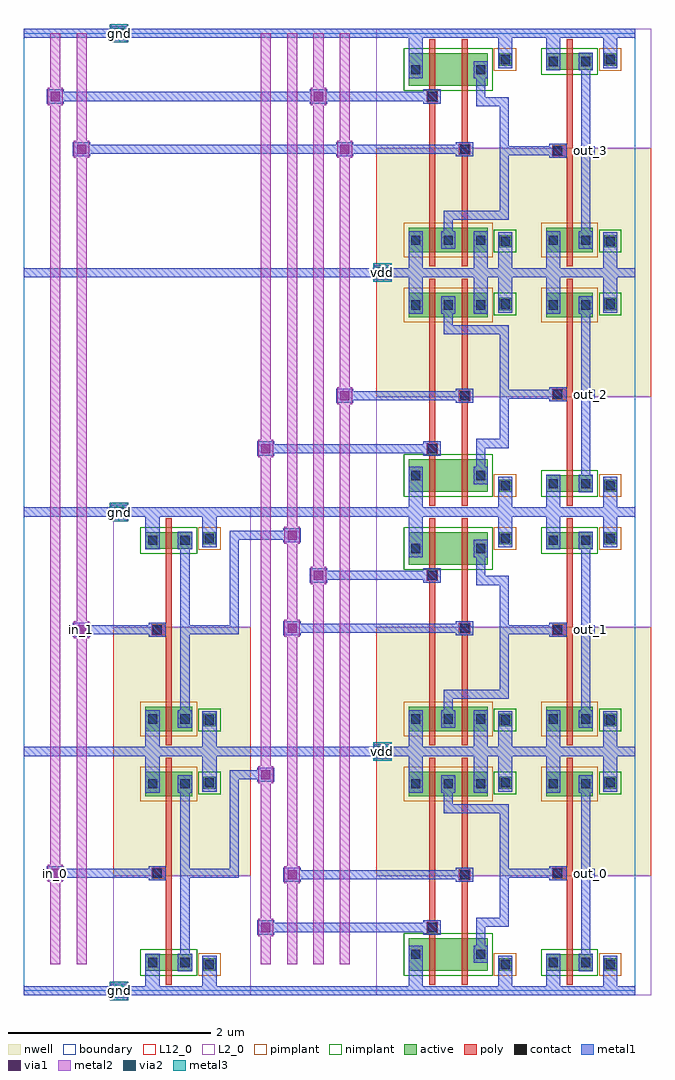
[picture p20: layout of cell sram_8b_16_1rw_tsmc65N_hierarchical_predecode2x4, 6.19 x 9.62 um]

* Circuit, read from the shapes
.subckt sram_8b_16_1rw_tsmc65N_hierarchical_predecode2x4 gnd in_0 in_1 out_0 out_1 out_2 out_3 vdd
M1 sram_8b_16_1rw_tsmc65N_and2_dec_2/A in_0 gnd gnd nfet w=0.16u l=0.06u
M2 sram_8b_16_1rw_tsmc65N_and2_dec_2/B in_1 gnd gnd nfet w=0.16u l=0.06u
M3 sram_8b_16_1rw_tsmc65N_and2_dec_2/sram_8b_16_1rw_tsmc65N_pnand2_0/sram_8b_16_1rw_tsmc65N_nmos_m1_w0_320_sm1_dactive_2/D sram_8b_16_1rw_tsmc65N_and2_dec_2/A gnd gnd nfet w=0.32u l=0.06u
M4 sram_8b_16_1rw_tsmc65N_and2_dec_3/sram_8b_16_1rw_tsmc65N_pnand2_0/sram_8b_16_1rw_tsmc65N_nmos_m1_w0_320_sm1_dactive_2/D in_0 gnd gnd nfet w=0.32u l=0.06u
M5 sram_8b_16_1rw_tsmc65N_and2_dec_4/sram_8b_16_1rw_tsmc65N_pnand2_0/sram_8b_16_1rw_tsmc65N_nmos_m1_w0_320_sm1_dactive_2/D sram_8b_16_1rw_tsmc65N_and2_dec_2/A gnd gnd nfet w=0.32u l=0.06u
M6 sram_8b_16_1rw_tsmc65N_and2_dec_5/sram_8b_16_1rw_tsmc65N_pnand2_0/sram_8b_16_1rw_tsmc65N_nmos_m1_w0_320_sm1_dactive_2/D in_0 gnd gnd nfet w=0.32u l=0.06u
M7 sram_8b_16_1rw_tsmc65N_and2_dec_2/sram_8b_16_1rw_tsmc65N_pinv_1/A sram_8b_16_1rw_tsmc65N_and2_dec_2/B sram_8b_16_1rw_tsmc65N_and2_dec_2/sram_8b_16_1rw_tsmc65N_pnand2_0/sram_8b_16_1rw_tsmc65N_nmos_m1_w0_320_sm1_dactive_2/D gnd nfet w=0.32u l=0.06u
M8 sram_8b_16_1rw_tsmc65N_and2_dec_3/sram_8b_16_1rw_tsmc65N_pinv_1/A sram_8b_16_1rw_tsmc65N_and2_dec_2/B sram_8b_16_1rw_tsmc65N_and2_dec_3/sram_8b_16_1rw_tsmc65N_pnand2_0/sram_8b_16_1rw_tsmc65N_nmos_m1_w0_320_sm1_dactive_2/D gnd nfet w=0.32u l=0.06u
M9 sram_8b_16_1rw_tsmc65N_and2_dec_4/sram_8b_16_1rw_tsmc65N_pinv_1/A in_1 sram_8b_16_1rw_tsmc65N_and2_dec_4/sram_8b_16_1rw_tsmc65N_pnand2_0/sram_8b_16_1rw_tsmc65N_nmos_m1_w0_320_sm1_dactive_2/D gnd nfet w=0.32u l=0.06u
M10 sram_8b_16_1rw_tsmc65N_and2_dec_5/sram_8b_16_1rw_tsmc65N_pinv_1/A in_1 sram_8b_16_1rw_tsmc65N_and2_dec_5/sram_8b_16_1rw_tsmc65N_pnand2_0/sram_8b_16_1rw_tsmc65N_nmos_m1_w0_320_sm1_dactive_2/D gnd nfet w=0.32u l=0.06u
M11 out_0 sram_8b_16_1rw_tsmc65N_and2_dec_2/sram_8b_16_1rw_tsmc65N_pinv_1/A gnd gnd nfet w=0.16u l=0.06u
M12 out_1 sram_8b_16_1rw_tsmc65N_and2_dec_3/sram_8b_16_1rw_tsmc65N_pinv_1/A gnd gnd nfet w=0.16u l=0.06u
M13 out_2 sram_8b_16_1rw_tsmc65N_and2_dec_4/sram_8b_16_1rw_tsmc65N_pinv_1/A gnd gnd nfet w=0.16u l=0.06u
M14 out_3 sram_8b_16_1rw_tsmc65N_and2_dec_5/sram_8b_16_1rw_tsmc65N_pinv_1/A gnd gnd nfet w=0.16u l=0.06u
M15 sram_8b_16_1rw_tsmc65N_and2_dec_2/A in_0 vdd vdd pfet w=0.24u l=0.06u
M16 sram_8b_16_1rw_tsmc65N_and2_dec_2/B in_1 vdd vdd pfet w=0.24u l=0.06u
M17 sram_8b_16_1rw_tsmc65N_and2_dec_2/sram_8b_16_1rw_tsmc65N_pinv_1/A sram_8b_16_1rw_tsmc65N_and2_dec_2/A vdd vdd pfet w=0.24u l=0.06u
M18 sram_8b_16_1rw_tsmc65N_and2_dec_3/sram_8b_16_1rw_tsmc65N_pinv_1/A in_0 vdd vdd pfet w=0.24u l=0.06u
M19 sram_8b_16_1rw_tsmc65N_and2_dec_4/sram_8b_16_1rw_tsmc65N_pinv_1/A sram_8b_16_1rw_tsmc65N_and2_dec_2/A vdd vdd pfet w=0.24u l=0.06u
M20 sram_8b_16_1rw_tsmc65N_and2_dec_5/sram_8b_16_1rw_tsmc65N_pinv_1/A in_0 vdd vdd pfet w=0.24u l=0.06u
M21 vdd sram_8b_16_1rw_tsmc65N_and2_dec_2/B sram_8b_16_1rw_tsmc65N_and2_dec_2/sram_8b_16_1rw_tsmc65N_pinv_1/A vdd pfet w=0.24u l=0.06u
M22 vdd sram_8b_16_1rw_tsmc65N_and2_dec_2/B sram_8b_16_1rw_tsmc65N_and2_dec_3/sram_8b_16_1rw_tsmc65N_pinv_1/A vdd pfet w=0.24u l=0.06u
M23 vdd in_1 sram_8b_16_1rw_tsmc65N_and2_dec_4/sram_8b_16_1rw_tsmc65N_pinv_1/A vdd pfet w=0.24u l=0.06u
M24 vdd in_1 sram_8b_16_1rw_tsmc65N_and2_dec_5/sram_8b_16_1rw_tsmc65N_pinv_1/A vdd pfet w=0.24u l=0.06u
M25 out_0 sram_8b_16_1rw_tsmc65N_and2_dec_2/sram_8b_16_1rw_tsmc65N_pinv_1/A vdd vdd pfet w=0.24u l=0.06u
M26 out_1 sram_8b_16_1rw_tsmc65N_and2_dec_3/sram_8b_16_1rw_tsmc65N_pinv_1/A vdd vdd pfet w=0.24u l=0.06u
M27 out_2 sram_8b_16_1rw_tsmc65N_and2_dec_4/sram_8b_16_1rw_tsmc65N_pinv_1/A vdd vdd pfet w=0.24u l=0.06u
M28 out_3 sram_8b_16_1rw_tsmc65N_and2_dec_5/sram_8b_16_1rw_tsmc65N_pinv_1/A vdd vdd pfet w=0.24u l=0.06u
.ends

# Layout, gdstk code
import gdstk
lib = gdstk.Library(unit=1e-6, precision=1e-09)
def R(c, l, rs):  # rectangles x0, y0, x1, y1
    for r in rs: c.add(gdstk.rectangle(r[:2], r[2:], *l))
def A(c, l, x, y, w, h, nx, ny, dx, dy):  # array of equal rectangles
    R(c, l, [(x+i*dx, y+j*dy, x+i*dx+w, y+j*dy+h) for i in range(nx) for j in range(ny)])
L2_0 = (2, 0)
nwell = (3, 0)
active = (6, 0)
L12_0 = (12, 0)
poly = (17, 0)
pimplant = (25, 0)
nimplant = (26, 0)
contact = (30, 0)
metal1 = (31, 0)
metal2 = (32, 0)
metal3 = (33, 0)
via1 = (51, 0)
via2 = (52, 0)
boundary = (108, 0)

sram_8b_16_1rw_tsmc65n_c = lib.new_cell('sram_8b_16_1rw_tsmc65N_contact_11')
R(sram_8b_16_1rw_tsmc65n_c, nwell, [(-0.165,-0.15,0.305,0.32)])
R(sram_8b_16_1rw_tsmc65n_c, active, [(0.01,0.025,0.13,0.145)])
R(sram_8b_16_1rw_tsmc65n_c, pimplant, [(-0.04,-0.025,0.18,0.195)])
R(sram_8b_16_1rw_tsmc65n_c, contact, [(0.025,0.04,0.115,0.13)])
R(sram_8b_16_1rw_tsmc65n_c, metal1, [(0,0,0.14,0.17)])
R(sram_8b_16_1rw_tsmc65n_c, boundary, [(-0.165,-0.15,0.305,0.32)])

sram_8b_16_1rw_tsmc65n_p = lib.new_cell('sram_8b_16_1rw_tsmc65N_pmos_m1_w0_240_sm1_dm1_da_p')
R(sram_8b_16_1rw_tsmc65n_p, nwell, [(-0.16,-0.16,0.62,0.4)])
R(sram_8b_16_1rw_tsmc65n_p, active, [(0,0,0.46,0.24)])
R(sram_8b_16_1rw_tsmc65n_p, L12_0, [(-0.16,-0.16,0.62,0.4)])
R(sram_8b_16_1rw_tsmc65n_p, poly, [(0.2,-0.14,0.26,0.38), (0.2,-0.14,0.26,0.38)])
R(sram_8b_16_1rw_tsmc65n_p, pimplant, [(-0.05,-0.05,0.51,0.29)])
R(sram_8b_16_1rw_tsmc65n_p, metal1, [(0,0.035,0.14,0.205), (0.32,0.035,0.46,0.205)])
R(sram_8b_16_1rw_tsmc65n_p, boundary, [(-0.16,-0.16,0.62,0.4)])
sram_8b_16_1rw_tsmc65n_p.add(gdstk.Reference(sram_8b_16_1rw_tsmc65n_c, (0,0.035)))
sram_8b_16_1rw_tsmc65n_p.add(gdstk.Reference(sram_8b_16_1rw_tsmc65n_c, (0.32,0.035)))
sram_8b_16_1rw_tsmc65n_p.add(gdstk.Label('G', (0.23,0.12), layer=17, texttype=0))
sram_8b_16_1rw_tsmc65n_p.add(gdstk.Label('S', (0.07,0.12), layer=31, texttype=0))
sram_8b_16_1rw_tsmc65n_p.add(gdstk.Label('D', (0.39,0.12), layer=31, texttype=0))

c_sram_8b_16_1rw_tsmc65n_c = lib.new_cell('sram_8b_16_1rw_tsmc65N_contact_10')
R(c_sram_8b_16_1rw_tsmc65n_c, L2_0, [(-0.165,-0.15,0.305,0.32)])
R(c_sram_8b_16_1rw_tsmc65n_c, active, [(0.01,0.025,0.13,0.145)])
R(c_sram_8b_16_1rw_tsmc65n_c, nimplant, [(-0.04,-0.025,0.18,0.195)])
R(c_sram_8b_16_1rw_tsmc65n_c, contact, [(0.025,0.04,0.115,0.13)])
R(c_sram_8b_16_1rw_tsmc65n_c, metal1, [(0,0,0.14,0.17)])
R(c_sram_8b_16_1rw_tsmc65n_c, boundary, [(-0.165,-0.15,0.305,0.32)])

sram_8b_16_1rw_tsmc65n_n = lib.new_cell('sram_8b_16_1rw_tsmc65N_nmos_m1_w0_160_sm1_dm1_da_p')
R(sram_8b_16_1rw_tsmc65n_n, L2_0, [(-0.16,-0.16,0.62,0.32)])
R(sram_8b_16_1rw_tsmc65n_n, active, [(0,0,0.46,0.16)])
R(sram_8b_16_1rw_tsmc65n_n, L12_0, [(-0.16,-0.16,0.62,0.32)])
R(sram_8b_16_1rw_tsmc65n_n, poly, [(0.2,-0.14,0.26,0.3), (0.2,-0.14,0.26,0.3)])
R(sram_8b_16_1rw_tsmc65n_n, nimplant, [(-0.05,-0.05,0.51,0.21)])
R(sram_8b_16_1rw_tsmc65n_n, metal1, [(0,-0.005,0.14,0.165), (0.32,-0.005,0.46,0.165)])
R(sram_8b_16_1rw_tsmc65n_n, boundary, [(-0.16,-0.16,0.62,0.32)])
sram_8b_16_1rw_tsmc65n_n.add(gdstk.Reference(c_sram_8b_16_1rw_tsmc65n_c, (0,-0.005)))
sram_8b_16_1rw_tsmc65n_n.add(gdstk.Reference(c_sram_8b_16_1rw_tsmc65n_c, (0.32,-0.005)))
sram_8b_16_1rw_tsmc65n_n.add(gdstk.Label('G', (0.23,0.08), layer=17, texttype=0))
sram_8b_16_1rw_tsmc65n_n.add(gdstk.Label('S', (0.07,0.08), layer=31, texttype=0))
sram_8b_16_1rw_tsmc65n_n.add(gdstk.Label('D', (0.39,0.08), layer=31, texttype=0))

c_sram_8b_16_1rw_tsmc65n_c_ = lib.new_cell('sram_8b_16_1rw_tsmc65N_contact_12')
R(c_sram_8b_16_1rw_tsmc65n_c_, nwell, [(-0.165,-0.15,0.305,0.32)])
R(c_sram_8b_16_1rw_tsmc65n_c_, active, [(0.01,0.025,0.13,0.145)])
R(c_sram_8b_16_1rw_tsmc65n_c_, nimplant, [(-0.04,-0.025,0.18,0.195)])
R(c_sram_8b_16_1rw_tsmc65n_c_, contact, [(0.025,0.04,0.115,0.13)])
R(c_sram_8b_16_1rw_tsmc65n_c_, metal1, [(0,0,0.14,0.17)])
R(c_sram_8b_16_1rw_tsmc65n_c_, boundary, [(-0.165,-0.15,0.305,0.32)])

c_sram_8b_16_1rw_tsmc65n_c__ = lib.new_cell('sram_8b_16_1rw_tsmc65N_contact_13')
R(c_sram_8b_16_1rw_tsmc65n_c__, L2_0, [(-0.165,-0.15,0.305,0.32)])
R(c_sram_8b_16_1rw_tsmc65n_c__, active, [(0.01,0.025,0.13,0.145)])
R(c_sram_8b_16_1rw_tsmc65n_c__, pimplant, [(-0.04,-0.025,0.18,0.195)])
R(c_sram_8b_16_1rw_tsmc65n_c__, contact, [(0.025,0.04,0.115,0.13)])
R(c_sram_8b_16_1rw_tsmc65n_c__, metal1, [(0,0,0.14,0.17)])
R(c_sram_8b_16_1rw_tsmc65n_c__, boundary, [(-0.165,-0.15,0.305,0.32)])

c_sram_8b_16_1rw_tsmc65n_c___ = lib.new_cell('sram_8b_16_1rw_tsmc65N_contact_14')
R(c_sram_8b_16_1rw_tsmc65n_c___, poly, [(0.03,0.015,0.14,0.125)])
R(c_sram_8b_16_1rw_tsmc65n_c___, contact, [(0.04,0.025,0.13,0.115)])
R(c_sram_8b_16_1rw_tsmc65n_c___, metal1, [(0,0,0.17,0.14)])
R(c_sram_8b_16_1rw_tsmc65n_c___, boundary, [(0,0,0.17,0.14)])

c_sram_8b_16_1rw_tsmc65n_p = lib.new_cell('sram_8b_16_1rw_tsmc65N_pinv')
R(c_sram_8b_16_1rw_tsmc65n_p, L2_0, [(-0.16,-0.045,1.195,1.135)])
R(c_sram_8b_16_1rw_tsmc65n_p, nwell, [(-0.16,1.135,1.195,2.48)])
R(c_sram_8b_16_1rw_tsmc65n_p, L12_0, [(-0.16,-0.045,1.195,1.135), (-0.16,1.135,1.195,2.48)])
R(c_sram_8b_16_1rw_tsmc65n_p, poly, [(0.36,0.5,0.42,1.78), (0.275,1.105,0.36,1.215)])
R(c_sram_8b_16_1rw_tsmc65n_p, metal1, [(0,-0.045,1.035,0.045), (0.16,-0.045,0.3,0.195), (0.72,0,0.86,0.26), (0.505,0.195,0.595,2.125), (0.19,1.09,0.36,1.23), (0.55,1.115,0.64,1.205), (0.16,1.955,0.3,2.405), (0.72,2.05,0.86,2.36), (0,2.315,1.035,2.405)])
R(c_sram_8b_16_1rw_tsmc65n_p, boundary, [(0,0,1.035,2.36), (0,0,1.035,2.36)])
c_sram_8b_16_1rw_tsmc65n_p.add(gdstk.Reference(sram_8b_16_1rw_tsmc65n_p, (0.16,1.92)))
c_sram_8b_16_1rw_tsmc65n_p.add(gdstk.Reference(sram_8b_16_1rw_tsmc65n_n, (0.16,0.2)))
c_sram_8b_16_1rw_tsmc65n_p.add(gdstk.Reference(c_sram_8b_16_1rw_tsmc65n_c_, (0.72,1.965)))
c_sram_8b_16_1rw_tsmc65n_p.add(gdstk.Reference(c_sram_8b_16_1rw_tsmc65n_c__, (0.72,0.175)))
c_sram_8b_16_1rw_tsmc65n_p.add(gdstk.Reference(c_sram_8b_16_1rw_tsmc65n_c___, (0.19,1.09)))
c_sram_8b_16_1rw_tsmc65n_p.add(gdstk.Label('A', (0.275,1.16), layer=31, texttype=0))
c_sram_8b_16_1rw_tsmc65n_p.add(gdstk.Label('Z', (0.595,1.16), layer=31, texttype=0))
c_sram_8b_16_1rw_tsmc65n_p.add(gdstk.Label('gnd', (0.518,0), layer=31, texttype=0))
c_sram_8b_16_1rw_tsmc65n_p.add(gdstk.Label('vdd', (0.518,2.36), layer=31, texttype=0))

c_sram_8b_16_1rw_tsmc65n_p_ = lib.new_cell('sram_8b_16_1rw_tsmc65N_pmos_m1_w0_242_sm1_dm1')
R(c_sram_8b_16_1rw_tsmc65n_p_, nwell, [(-0.16,-0.16,0.62,0.4)])
R(c_sram_8b_16_1rw_tsmc65n_p_, active, [(0,0,0.46,0.24)])
R(c_sram_8b_16_1rw_tsmc65n_p_, L12_0, [(-0.16,-0.16,0.62,0.4)])
R(c_sram_8b_16_1rw_tsmc65n_p_, poly, [(0.2,-0.14,0.26,0.38), (0.2,-0.14,0.26,0.38)])
R(c_sram_8b_16_1rw_tsmc65n_p_, pimplant, [(-0.05,-0.05,0.51,0.29)])
R(c_sram_8b_16_1rw_tsmc65n_p_, metal1, [(0,0.035,0.14,0.205), (0.32,0.035,0.46,0.205)])
R(c_sram_8b_16_1rw_tsmc65n_p_, boundary, [(-0.16,-0.16,0.62,0.4)])
c_sram_8b_16_1rw_tsmc65n_p_.add(gdstk.Reference(sram_8b_16_1rw_tsmc65n_c, (0,0.035)))
c_sram_8b_16_1rw_tsmc65n_p_.add(gdstk.Reference(sram_8b_16_1rw_tsmc65n_c, (0.32,0.035)))
c_sram_8b_16_1rw_tsmc65n_p_.add(gdstk.Label('G', (0.23,0.12), layer=17, texttype=0))
c_sram_8b_16_1rw_tsmc65n_p_.add(gdstk.Label('S', (0.07,0.12), layer=31, texttype=0))
c_sram_8b_16_1rw_tsmc65n_p_.add(gdstk.Label('D', (0.39,0.12), layer=31, texttype=0))

c_sram_8b_16_1rw_tsmc65n_n = lib.new_cell('sram_8b_16_1rw_tsmc65N_nmos_m1_w0_320_sm1_dactive')
R(c_sram_8b_16_1rw_tsmc65n_n, L2_0, [(-0.16,-0.16,0.62,0.48)])
R(c_sram_8b_16_1rw_tsmc65n_n, active, [(0,0,0.46,0.32), (0.35,0.12,0.43,0.2)])
R(c_sram_8b_16_1rw_tsmc65n_n, L12_0, [(-0.16,-0.16,0.62,0.48)])
R(c_sram_8b_16_1rw_tsmc65n_n, poly, [(0.2,-0.14,0.26,0.46), (0.2,-0.14,0.26,0.46)])
R(c_sram_8b_16_1rw_tsmc65n_n, nimplant, [(-0.05,-0.05,0.51,0.37)])
R(c_sram_8b_16_1rw_tsmc65n_n, metal1, [(0,0.075,0.14,0.245)])
R(c_sram_8b_16_1rw_tsmc65n_n, boundary, [(-0.16,-0.16,0.62,0.48)])
c_sram_8b_16_1rw_tsmc65n_n.add(gdstk.Reference(c_sram_8b_16_1rw_tsmc65n_c, (0,0.075)))
c_sram_8b_16_1rw_tsmc65n_n.add(gdstk.Label('G', (0.23,0.16), layer=17, texttype=0))
c_sram_8b_16_1rw_tsmc65n_n.add(gdstk.Label('S', (0.07,0.16), layer=31, texttype=0))
c_sram_8b_16_1rw_tsmc65n_n.add(gdstk.Label('D', (0.39,0.16), layer=6, texttype=0))

c_sram_8b_16_1rw_tsmc65n_n_ = lib.new_cell('sram_8b_16_1rw_tsmc65N_nmos_m1_w0_320_sactive_dm1')
R(c_sram_8b_16_1rw_tsmc65n_n_, L2_0, [(-0.16,-0.16,0.62,0.48)])
R(c_sram_8b_16_1rw_tsmc65n_n_, active, [(0,0,0.46,0.32), (0.03,0.12,0.11,0.2)])
R(c_sram_8b_16_1rw_tsmc65n_n_, L12_0, [(-0.16,-0.16,0.62,0.48)])
R(c_sram_8b_16_1rw_tsmc65n_n_, poly, [(0.2,-0.14,0.26,0.46), (0.2,-0.14,0.26,0.46)])
R(c_sram_8b_16_1rw_tsmc65n_n_, nimplant, [(-0.05,-0.05,0.51,0.37)])
R(c_sram_8b_16_1rw_tsmc65n_n_, metal1, [(0.32,0.075,0.46,0.245)])
R(c_sram_8b_16_1rw_tsmc65n_n_, boundary, [(-0.16,-0.16,0.62,0.48)])
c_sram_8b_16_1rw_tsmc65n_n_.add(gdstk.Reference(c_sram_8b_16_1rw_tsmc65n_c, (0.32,0.075)))
c_sram_8b_16_1rw_tsmc65n_n_.add(gdstk.Label('G', (0.23,0.16), layer=17, texttype=0))
c_sram_8b_16_1rw_tsmc65n_n_.add(gdstk.Label('S', (0.07,0.16), layer=6, texttype=0))
c_sram_8b_16_1rw_tsmc65n_n_.add(gdstk.Label('D', (0.39,0.16), layer=31, texttype=0))

c_sram_8b_16_1rw_tsmc65n_p__ = lib.new_cell('sram_8b_16_1rw_tsmc65N_pnand2')
R(c_sram_8b_16_1rw_tsmc65n_p__, L2_0, [(-0.16,-0.045,1.515,1.135)])
R(c_sram_8b_16_1rw_tsmc65n_p__, nwell, [(-0.16,1.135,1.515,2.48)])
R(c_sram_8b_16_1rw_tsmc65n_p__, L12_0, [(-0.16,-0.045,1.515,1.135), (-0.16,1.135,1.515,2.48)])
R(c_sram_8b_16_1rw_tsmc65n_p__, poly, [(0.36,0.57,0.39,0.68), (0.36,0.66,0.42,1.78), (0.68,0.66,0.74,1.78), (0.68,1.09,0.71,1.2)])
R(c_sram_8b_16_1rw_tsmc65n_p__, metal1, [(0,-0.045,1.355,0.045), (0.16,-0.045,0.3,0.275), (1.04,0,1.18,0.26), (0.825,0.445,0.915,0.675), (0.305,0.555,0.475,0.695), (0.825,0.63,0.915,0.72), (0.87,0.63,1.1,0.72), (1.055,0.63,1.145,0.72), (1.055,0.675,1.145,1.795), (0.625,1.075,0.795,1.215), (0.505,1.75,0.595,1.84), (0.55,1.75,1.1,1.84), (1.055,1.75,1.145,1.84), (0.505,1.795,0.595,1.955), (0.16,1.955,0.3,2.405), (0.8,1.955,0.94,2.405), (1.04,2.05,1.18,2.36), (0,2.315,1.355,2.405)])
R(c_sram_8b_16_1rw_tsmc65n_p__, boundary, [(0,0,1.355,2.36), (0,0,1.355,2.36)])
c_sram_8b_16_1rw_tsmc65n_p__.add(gdstk.Reference(c_sram_8b_16_1rw_tsmc65n_p_, (0.16,1.92)))
c_sram_8b_16_1rw_tsmc65n_p__.add(gdstk.Reference(c_sram_8b_16_1rw_tsmc65n_p_, (0.48,1.92)))
c_sram_8b_16_1rw_tsmc65n_p__.add(gdstk.Reference(c_sram_8b_16_1rw_tsmc65n_n, (0.16,0.2)))
c_sram_8b_16_1rw_tsmc65n_p__.add(gdstk.Reference(c_sram_8b_16_1rw_tsmc65n_n_, (0.48,0.2)))
c_sram_8b_16_1rw_tsmc65n_p__.add(gdstk.Reference(c_sram_8b_16_1rw_tsmc65n_c_, (1.04,1.965)))
c_sram_8b_16_1rw_tsmc65n_p__.add(gdstk.Reference(c_sram_8b_16_1rw_tsmc65n_c__, (1.04,0.175)))
c_sram_8b_16_1rw_tsmc65n_p__.add(gdstk.Reference(c_sram_8b_16_1rw_tsmc65n_c___, (0.305,0.555)))
c_sram_8b_16_1rw_tsmc65n_p__.add(gdstk.Reference(c_sram_8b_16_1rw_tsmc65n_c___, (0.625,1.075)))
c_sram_8b_16_1rw_tsmc65n_p__.add(gdstk.Label('Z', (1.1,1.795), layer=31, texttype=0))
c_sram_8b_16_1rw_tsmc65n_p__.add(gdstk.Label('gnd', (0.678,0), layer=31, texttype=0))
c_sram_8b_16_1rw_tsmc65n_p__.add(gdstk.Label('vdd', (0.678,2.36), layer=31, texttype=0))
c_sram_8b_16_1rw_tsmc65n_p__.add(gdstk.Label('A', (0.39,0.625), layer=31, texttype=0))
c_sram_8b_16_1rw_tsmc65n_p__.add(gdstk.Label('B', (0.71,1.145), layer=31, texttype=0))

sram_8b_16_1rw_tsmc65n_a = lib.new_cell('sram_8b_16_1rw_tsmc65N_and2_dec')
R(sram_8b_16_1rw_tsmc65n_a, metal1, [(0,-0.045,2.39,0.045), (0.305,0.555,0.475,0.695), (0.625,1.075,0.795,1.215), (1.055,1.115,1.145,1.205), (1.1,1.115,1.63,1.205), (1.905,1.115,1.995,1.205), (1.055,1.16,1.145,1.795), (0,2.315,2.39,2.405)])
R(sram_8b_16_1rw_tsmc65n_a, boundary, [(0,0,2.39,2.36)])
sram_8b_16_1rw_tsmc65n_a.add(gdstk.Reference(c_sram_8b_16_1rw_tsmc65n_p__, (0,0)))
sram_8b_16_1rw_tsmc65n_a.add(gdstk.Reference(c_sram_8b_16_1rw_tsmc65n_p, (1.355,0)))
sram_8b_16_1rw_tsmc65n_a.add(gdstk.Label('Z', (1.95,1.16), layer=31, texttype=0))
sram_8b_16_1rw_tsmc65n_a.add(gdstk.Label('A', (0.39,0.625), layer=31, texttype=0))
sram_8b_16_1rw_tsmc65n_a.add(gdstk.Label('B', (0.71,1.145), layer=31, texttype=0))
sram_8b_16_1rw_tsmc65n_a.add(gdstk.Label('gnd', (1.195,0), layer=31, texttype=0))
sram_8b_16_1rw_tsmc65n_a.add(gdstk.Label('vdd', (1.195,2.36), layer=31, texttype=0))

c_sram_8b_16_1rw_tsmc65n_c____ = lib.new_cell('sram_8b_16_1rw_tsmc65N_contact_15')
R(c_sram_8b_16_1rw_tsmc65n_c____, metal1, [(0,0.015,0.17,0.155)])
R(c_sram_8b_16_1rw_tsmc65n_c____, metal2, [(0.01,0,0.16,0.17)])
R(c_sram_8b_16_1rw_tsmc65n_c____, via1, [(0.04,0.04,0.13,0.13)])
R(c_sram_8b_16_1rw_tsmc65n_c____, boundary, [(0,0,0.17,0.17)])

c_sram_8b_16_1rw_tsmc65n_c_____ = lib.new_cell('sram_8b_16_1rw_tsmc65N_contact_17')
R(c_sram_8b_16_1rw_tsmc65n_c_____, metal1, [(0,0.015,0.17,0.155)])
R(c_sram_8b_16_1rw_tsmc65n_c_____, metal2, [(0.01,0,0.16,0.17)])
R(c_sram_8b_16_1rw_tsmc65n_c_____, via1, [(0.04,0.04,0.13,0.13)])
R(c_sram_8b_16_1rw_tsmc65n_c_____, boundary, [(0,0,0.17,0.17)])

c_sram_8b_16_1rw_tsmc65n_c______ = lib.new_cell('sram_8b_16_1rw_tsmc65N_contact_18')
R(c_sram_8b_16_1rw_tsmc65n_c______, metal2, [(0.01,0,0.17,0.18)])
R(c_sram_8b_16_1rw_tsmc65n_c______, metal3, [(0,0.01,0.18,0.17)])
R(c_sram_8b_16_1rw_tsmc65n_c______, via2, [(0.04,0.04,0.14,0.14)])
R(c_sram_8b_16_1rw_tsmc65n_c______, boundary, [(0,0,0.18,0.18)])

sram_8b_16_1rw_tsmc65n_h = lib.new_cell('sram_8b_16_1rw_tsmc65N_hierarchical_predecode2x4')
R(sram_8b_16_1rw_tsmc65n_h, metal1, [(0,-0.045,6.025,0.045), (2.385,0.58,4.025,0.67), (3.98,0.58,4.07,0.67), (2.645,1.1,4.345,1.19), (4.3,1.1,4.39,1.19), (0.31,1.115,1.315,1.205), (1.27,1.115,1.36,1.205), (1.635,1.115,1.725,1.205), (1.68,1.115,2.075,1.205), (2.03,1.115,2.12,1.205), (5.54,1.115,5.63,1.205), (2.03,1.16,2.12,2.13), (2.03,2.085,2.12,2.175), (2.075,2.085,2.385,2.175), (0,2.315,6.025,2.405), (0,2.315,6.025,2.405), (0.57,3.515,1.315,3.605), (1.27,3.515,1.36,3.605), (1.635,3.515,1.725,3.605), (1.68,3.515,2.075,3.605), (2.03,3.515,2.12,3.605), (5.54,3.515,5.63,3.605), (2.645,3.53,4.345,3.62), (4.3,3.53,4.39,3.62), (2.03,3.56,2.12,4.49), (2.905,4.05,4.025,4.14), (3.98,4.05,4.07,4.14), (2.03,4.445,2.12,4.535), (2.075,4.445,2.645,4.535), (0,4.675,6.025,4.765), (0,4.675,6.025,4.765), (2.385,5.3,4.025,5.39), (3.98,5.3,4.07,5.39), (3.165,5.82,4.345,5.91), (4.3,5.82,4.39,5.91), (5.54,5.835,5.63,5.925), (0,7.035,6.025,7.125), (0,7.035,6.025,7.125), (5.54,8.235,5.63,8.325), (0.57,8.25,3.165,8.34), (3.165,8.25,4.345,8.34), (4.3,8.25,4.39,8.34), (0.31,8.77,2.905,8.86), (2.905,8.77,4.025,8.86), (3.98,8.77,4.07,8.86), (0,9.395,6.025,9.485)])
A(sram_8b_16_1rw_tsmc65n_h, metal2, 2.335, 0.26, 0.1, 9.18, 4, 1, 0.26, 0)
R(sram_8b_16_1rw_tsmc65n_h, metal2, [(0.86,-0.05,1.02,0.05), (0.26,0.26,0.36,9.44), (0.52,0.26,0.62,9.44), (0.235,1.075,0.385,1.245), (3.455,2.31,3.615,2.41), (3.455,2.31,3.615,2.41), (0.495,3.475,0.645,3.645), (0.86,4.67,1.02,4.77), (0.86,4.67,1.02,4.77), (3.455,7.03,3.615,7.13), (3.455,7.03,3.615,7.13), (0.86,9.39,1.02,9.49)])
A(sram_8b_16_1rw_tsmc65n_h, metal3, 0.85, -0.09, 0.18, 0.18, 1, 3, 0, 4.72)
R(sram_8b_16_1rw_tsmc65n_h, metal3, [(3.445,2.27,3.625,2.45), (3.445,6.99,3.625,7.17)])
R(sram_8b_16_1rw_tsmc65n_h, boundary, [(0,0,6.025,9.44)])
sram_8b_16_1rw_tsmc65n_h.add(gdstk.Reference(c_sram_8b_16_1rw_tsmc65n_p, (1.04,0)))
sram_8b_16_1rw_tsmc65n_h.add(gdstk.Reference(c_sram_8b_16_1rw_tsmc65n_p, (1.04,4.72), x_reflection=True))
sram_8b_16_1rw_tsmc65n_h.add(gdstk.Reference(sram_8b_16_1rw_tsmc65n_a, (3.635,0)))
sram_8b_16_1rw_tsmc65n_h.add(gdstk.Reference(sram_8b_16_1rw_tsmc65n_a, (3.635,4.72), x_reflection=True))
sram_8b_16_1rw_tsmc65n_h.add(gdstk.Reference(sram_8b_16_1rw_tsmc65n_a, (3.635,4.72)))
sram_8b_16_1rw_tsmc65n_h.add(gdstk.Reference(sram_8b_16_1rw_tsmc65n_a, (3.635,9.44), x_reflection=True))
sram_8b_16_1rw_tsmc65n_h.add(gdstk.Reference(c_sram_8b_16_1rw_tsmc65n_c____, (0.225,1.075)))
sram_8b_16_1rw_tsmc65n_h.add(gdstk.Reference(c_sram_8b_16_1rw_tsmc65n_c____, (0.485,3.475)))
sram_8b_16_1rw_tsmc65n_h.add(gdstk.Reference(c_sram_8b_16_1rw_tsmc65n_c____, (2.3,0.54)))
sram_8b_16_1rw_tsmc65n_h.add(gdstk.Reference(c_sram_8b_16_1rw_tsmc65n_c____, (2.56,1.06)))
sram_8b_16_1rw_tsmc65n_h.add(gdstk.Reference(c_sram_8b_16_1rw_tsmc65n_c____, (2.82,4.01)))
sram_8b_16_1rw_tsmc65n_h.add(gdstk.Reference(c_sram_8b_16_1rw_tsmc65n_c____, (2.56,3.49)))
sram_8b_16_1rw_tsmc65n_h.add(gdstk.Reference(c_sram_8b_16_1rw_tsmc65n_c____, (2.3,5.26)))
sram_8b_16_1rw_tsmc65n_h.add(gdstk.Reference(c_sram_8b_16_1rw_tsmc65n_c____, (3.08,5.78)))
sram_8b_16_1rw_tsmc65n_h.add(gdstk.Reference(c_sram_8b_16_1rw_tsmc65n_c____, (2.82,8.73)))
sram_8b_16_1rw_tsmc65n_h.add(gdstk.Reference(c_sram_8b_16_1rw_tsmc65n_c____, (3.08,8.21)))
sram_8b_16_1rw_tsmc65n_h.add(gdstk.Reference(c_sram_8b_16_1rw_tsmc65n_c____, (2.3,2.045)))
sram_8b_16_1rw_tsmc65n_h.add(gdstk.Reference(c_sram_8b_16_1rw_tsmc65n_c____, (2.56,4.405)))
sram_8b_16_1rw_tsmc65n_h.add(gdstk.Reference(c_sram_8b_16_1rw_tsmc65n_c_____, (0.225,8.73)))
sram_8b_16_1rw_tsmc65n_h.add(gdstk.Reference(c_sram_8b_16_1rw_tsmc65n_c_____, (2.82,8.73)))
sram_8b_16_1rw_tsmc65n_h.add(gdstk.Reference(c_sram_8b_16_1rw_tsmc65n_c_____, (0.485,8.21)))
sram_8b_16_1rw_tsmc65n_h.add(gdstk.Reference(c_sram_8b_16_1rw_tsmc65n_c_____, (3.08,8.21)))
sram_8b_16_1rw_tsmc65n_h.add(gdstk.Reference(c_sram_8b_16_1rw_tsmc65n_c_____, (3.45,2.275)))
sram_8b_16_1rw_tsmc65n_h.add(gdstk.Reference(c_sram_8b_16_1rw_tsmc65n_c______, (3.445,2.27)))
sram_8b_16_1rw_tsmc65n_h.add(gdstk.Reference(c_sram_8b_16_1rw_tsmc65n_c_____, (0.855,-0.085)))
sram_8b_16_1rw_tsmc65n_h.add(gdstk.Reference(c_sram_8b_16_1rw_tsmc65n_c______, (0.85,-0.09)))
sram_8b_16_1rw_tsmc65n_h.add(gdstk.Reference(c_sram_8b_16_1rw_tsmc65n_c_____, (3.45,2.275)))
sram_8b_16_1rw_tsmc65n_h.add(gdstk.Reference(c_sram_8b_16_1rw_tsmc65n_c______, (3.445,2.27)))
sram_8b_16_1rw_tsmc65n_h.add(gdstk.Reference(c_sram_8b_16_1rw_tsmc65n_c_____, (0.855,4.635)))
sram_8b_16_1rw_tsmc65n_h.add(gdstk.Reference(c_sram_8b_16_1rw_tsmc65n_c______, (0.85,4.63)))
sram_8b_16_1rw_tsmc65n_h.add(gdstk.Reference(c_sram_8b_16_1rw_tsmc65n_c_____, (3.45,6.995)))
sram_8b_16_1rw_tsmc65n_h.add(gdstk.Reference(c_sram_8b_16_1rw_tsmc65n_c______, (3.445,6.99)))
sram_8b_16_1rw_tsmc65n_h.add(gdstk.Reference(c_sram_8b_16_1rw_tsmc65n_c_____, (0.855,4.635)))
sram_8b_16_1rw_tsmc65n_h.add(gdstk.Reference(c_sram_8b_16_1rw_tsmc65n_c______, (0.85,4.63)))
sram_8b_16_1rw_tsmc65n_h.add(gdstk.Reference(c_sram_8b_16_1rw_tsmc65n_c_____, (3.45,6.995)))
sram_8b_16_1rw_tsmc65n_h.add(gdstk.Reference(c_sram_8b_16_1rw_tsmc65n_c______, (3.445,6.99)))
sram_8b_16_1rw_tsmc65n_h.add(gdstk.Reference(c_sram_8b_16_1rw_tsmc65n_c_____, (0.855,9.355)))
sram_8b_16_1rw_tsmc65n_h.add(gdstk.Reference(c_sram_8b_16_1rw_tsmc65n_c______, (0.85,9.35)))
sram_8b_16_1rw_tsmc65n_h.add(gdstk.Label('in_0', (0.31,1.16), layer=32, texttype=0))
sram_8b_16_1rw_tsmc65n_h.add(gdstk.Label('in_1', (0.57,3.56), layer=32, texttype=0))
sram_8b_16_1rw_tsmc65n_h.add(gdstk.Label('out_0', (5.585,1.16), layer=31, texttype=0))
sram_8b_16_1rw_tsmc65n_h.add(gdstk.Label('out_1', (5.585,3.56), layer=31, texttype=0))
sram_8b_16_1rw_tsmc65n_h.add(gdstk.Label('out_2', (5.585,5.88), layer=31, texttype=0))
sram_8b_16_1rw_tsmc65n_h.add(gdstk.Label('out_3', (5.585,8.28), layer=31, texttype=0))
sram_8b_16_1rw_tsmc65n_h.add(gdstk.Label('vdd', (3.535,7.08), layer=33, texttype=0))
sram_8b_16_1rw_tsmc65n_h.add(gdstk.Label('vdd', (3.535,2.36), layer=33, texttype=0))
sram_8b_16_1rw_tsmc65n_h.add(gdstk.Label('gnd', (0.94,0), layer=33, texttype=0))
sram_8b_16_1rw_tsmc65n_h.add(gdstk.Label('gnd', (0.94,9.44), layer=33, texttype=0))
sram_8b_16_1rw_tsmc65n_h.add(gdstk.Label('gnd', (0.94,4.72), layer=33, texttype=0))

lib.write_gds('sram_8b_16_1rw_tsmc65N_hierarchical_predecode2x4.gds')
